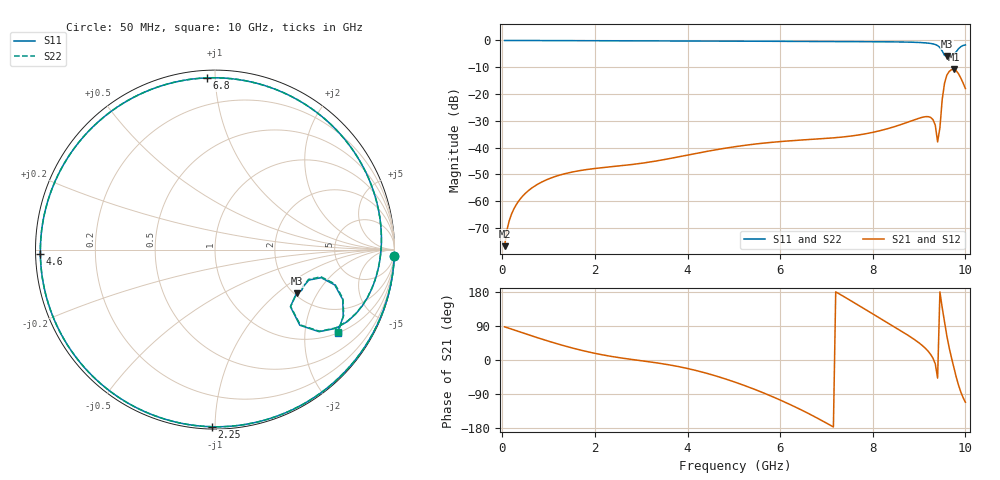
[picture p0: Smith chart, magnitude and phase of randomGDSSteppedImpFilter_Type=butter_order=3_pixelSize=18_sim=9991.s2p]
! freq	dB(S11)	phase(S11)	dB(S12)	phase(S12)
!  dB(S21)	phase(S21)	dB(S22)	phase(S22)
!S-par simulation data
#  GHz  S  DB  R 50
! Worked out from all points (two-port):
!   200 points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, 50 MHz to 10 GHz, reference 50 ohm
!   highest |S21| = -10.77 dB at 9.75 GHz (marker M1); lowest = -76.8 dB at 50 MHz (marker M2)
!   |S21| within 3 dB of the highest: 9.586 GHz to 9.892 GHz (306.3 MHz wide, 3.15 % of centre)
!   lowest |S11| = -5.8 dB at 9.6 GHz (marker M3), VSWR 3.13, Z = 103 - j68.2 ohm
!   |S11| at or under -10 dB: nowhere
!   |S22| runs from -5.8 to 0.0 dB; largest |S21 - S12| = 0
!   S11 on the Smith chart (normalised r, x): 50 MHz: 0, -54; 2.25 GHz: 0.01, -0.98; 4.6 GHz: 0.01, -0.01; 6.8 GHz: 0.04, +0.95; 10 GHz: 1.02, -2.94
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0.05  -0.00 -2.1  -76.84 87.4  -76.84 87.4  -0.00 -2.1
0.2  -0.01 -8.4  -64.84 81.5  -64.84 81.5  -0.01 -8.4
0.5  -0.03 -20.9  -57.08 69.2  -57.08 69.2  -0.03 -20.9
1.75  -0.09 -71.5  -48.40 24.4  -48.40 24.4  -0.09 -71.5
2.25  -0.11 -90.9  -47.35 11.7  -47.35 11.7  -0.11 -90.9
3.4  -0.17 -134.0  -44.80 -8.8  -44.80 -8.8  -0.17 -134.0
4.6  -0.24 -178.6  -40.87 -41.6  -40.87 -41.6  -0.24 -178.5
5.05  -0.26 164.2  -39.62 -59.5  -39.62 -59.5  -0.26 164.3
5.95  -0.32 128.4  -37.84 -102.9  -37.84 -102.9  -0.32 128.6
6.7  -0.37 97.0  -36.93 -146.8  -36.93 -146.8  -0.37 97.3
6.8  -0.37 92.8  -36.82 -153.2  -36.82 -153.2  -0.37 93.0
7.55  -0.42 60.2  -35.66 154.8  -35.66 154.8  -0.42 60.4
8.35  -0.51 24.8  -32.81 95.9  -32.81 95.9  -0.51 25.1
9.2  -1.00 -17.4  -28.47 22.5  -28.47 22.5  -1.00 -17.1
9.35  -1.52 -28.5  -31.67 -10.2  -31.67 -10.2  -1.52 -28.2
9.4  -1.92 -33.2  -37.91 -47.8  -37.91 -47.8  -1.91 -32.9
9.45  -2.64 -38.3  -32.58 179.7  -32.58 179.7  -2.63 -38.0
9.5  -3.97 -41.7  -21.96 137.6  -21.96 137.6  -3.96 -41.5
9.6  -5.75 -28.2  -12.94 63.2  -12.94 63.2  -5.76 -28.1
9.75  -5.20 -18.0  -10.77 -19.7  -10.77 -19.7  -5.24 -17.7
9.85  -3.15 -16.4  -12.42 -65.8  -12.42 -65.8  -3.17 -16.0
10  -1.67 -34.1  -17.96 -111.5  -17.96 -111.5  -1.67 -33.7
